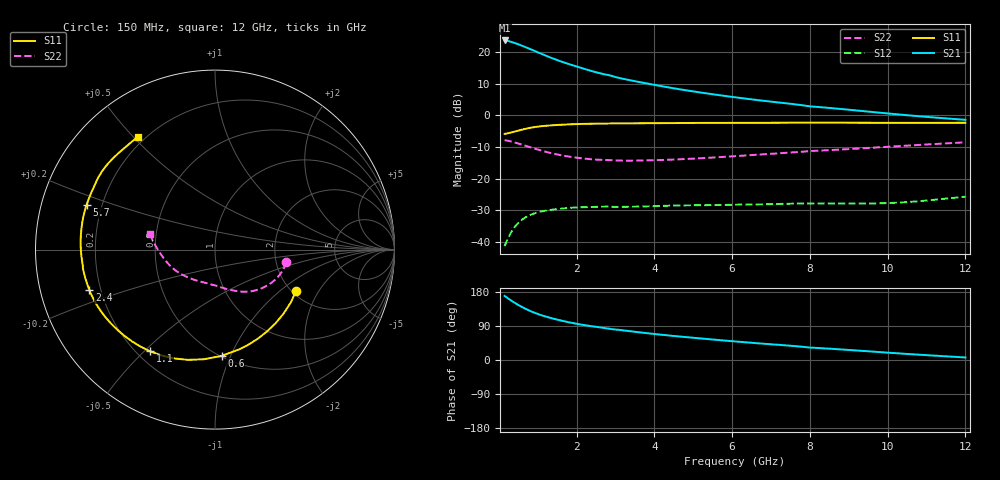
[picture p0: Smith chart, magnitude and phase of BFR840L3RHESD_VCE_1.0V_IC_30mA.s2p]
! Infineon Technologies  Discrete & RF Semiconductors
! BFR840L3RHESD
! VCE =  1.0 V,  IC =  30 mA
! Common Emitter S-Parameters:  Jun 2012
# GHz  S  MA  R  50
!  f  S11  S21  S12  S22
! GHz  MAG  ANG  MAG  ANG  MAG  ANG  MAG  ANG
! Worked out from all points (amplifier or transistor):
!   91 points, 150 MHz to 12 GHz, reference 50 ohm
!   highest |S21| = 23.6 dB at 150 MHz (marker M1)
!   |S21| within 3 dB of that: start of sweep to 862.7 MHz
!   unconditionally stable (mu >= 1): start of sweep to 635.6 MHz; 1.834 GHz to end of sweep
!   at 1.3 GHz: K = 0.90, MSG = 24.1 dB, |S12| = -29.9 dB
!   at 4.3 GHz: K = 1.93, MAG = 13.2 dB, |S12| = -28.6 dB
!   at 12 GHz: K = 4.26, MAG = 2.9 dB, |S12| = -25.7 dB
!   S11 on the Smith chart (normalised r, x): 150 MHz: 2.11, -1.30; 600 MHz: 0.51, -0.93; 1.1 GHz: 0.25, -0.52; 2.4 GHz: 0.16, -0.15; 5.7 GHz: 0.14, +0.17; 12 GHz: 0.17, +0.51
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0.15  0.5077 -26.9  15.14 169.0  0.0086 47.9  0.4037 -10.1
0.25  0.5226 -43.0  14.77 161.7  0.0119 51.1  0.3944 -17.3
0.35  0.5404 -57.5  14.2 154.8  0.0153 50.2  0.3812 -23.8
0.45  0.5608 -70.3  13.54 148.4  0.0185 48.2  0.3662 -29.9
0.6  0.5934 -86.5  12.49 139.7  0.0226 44.6  0.343 -38.0
0.7  0.6139 -95.7  11.8 134.5  0.0248 42.2  0.328 -42.8
0.8  0.6323 -103.7  11.12 129.7  0.0267 40.0  0.3137 -47.2
0.9  0.6481 -110.7  10.48 125.4  0.0281 37.8  0.3003 -51.1
1.1  0.6722 -122.5  9.302 118.0  0.0304 33.9  0.2763 -57.9
1.3  0.6892 -132.0  8.283 111.9  0.0319 30.6  0.2564 -63.7
1.6  0.7078 -142.9  7.068 104.2  0.0336 27.1  0.2339 -71.3
1.9  0.7219 -151.3  6.15 97.6  0.0348 25.0  0.2184 -78.1
2.2  0.7314 -158.2  5.394 92.1  0.0355 23.5  0.2073 -84.1
2.4  0.7352 -162.2  4.959 89.0  0.0357 22.4  0.2018 -87.7
2.9  0.742 -170.2  4.188 81.6  0.0361 20.8  0.1956 -96.2
3.1  0.7419 -173.3  3.875 79.5  0.0359 20.6  0.1929 -99.4
4.2  0.7515 174.0  2.867 66.5  0.0372 20.9  0.197 -116.0
5.7  0.7578 160.8  2.063 52.3  0.0384 23.3  0.2189 -136.1
6.1  0.7581 157.7  1.914 48.8  0.0388 23.7  0.2268 -141.0
8.5  0.7649 141.6  1.305 29.9  0.0406 28.1  0.2815 -167.2
10.5  0.7581 130.8  1.001 16.0  0.0426 36.3  0.3316 176.4
12  0.7618 124.4  0.847 6.7  0.0519 41.2  0.3742 166.3
